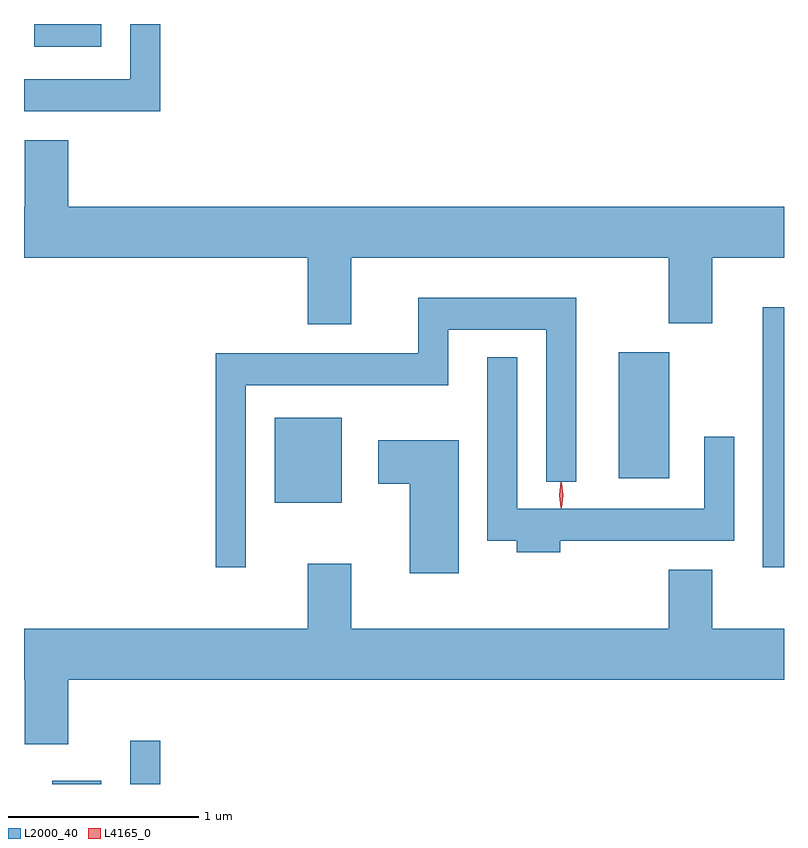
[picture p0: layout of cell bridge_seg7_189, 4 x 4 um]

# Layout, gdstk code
import gdstk
lib = gdstk.Library(unit=1e-6, precision=1e-09)
def R(c, l, rs):  # rectangles x0, y0, x1, y1
    for r in rs: c.add(gdstk.rectangle(r[:2], r[2:], *l))
def P(c, l, *ps):  # polygons
    for p in ps: c.add(gdstk.Polygon(p, *l))
L2000_40 = (2000, 40)
L4165_0 = (4165, 0)

bridge_seg7_189 = lib.new_cell('bridge_seg7_189')
R(bridge_seg7_189, L2000_40, [(1502.836,1702.666,1503.094,1702.684), (1503.246,1702.666,1503.404,1702.893), (1506.576,1703.808,1506.687,1705.174), (1504.006,1704.146,1504.359,1704.594), (1505.816,1704.276,1506.084,1704.939), (1502.741,1706.546,1503.094,1706.666)])
P(bridge_seg7_189, L2000_40, [(1503.404,1706.666),(1503.246,1706.666),(1503.246,1706.374),(1502.687,1706.374),(1502.687,1706.206),(1503.404,1706.206)],
  [(1504.181,1705.086),(1504.409,1705.086),(1504.409,1705.436),(1506.081,1705.436),(1506.081,1705.091),(1506.309,1705.091),(1506.309,1705.436),(1506.687,1705.436),(1506.687,1705.704),(1502.919,1705.704),(1502.919,1706.054),(1502.691,1706.054),(1502.691,1705.704),(1502.687,1705.704),(1502.687,1705.436),(1504.181,1705.436)],
  [(1503.854,1704.766),(1504.919,1704.766),(1504.919,1705.056),(1505.436,1705.056),(1505.436,1704.258),(1505.594,1704.258),(1505.594,1705.224),(1504.761,1705.224),(1504.761,1704.934),(1503.696,1704.934),(1503.696,1703.808),(1503.854,1703.808)],
  [(1505.509,1703.946),(1506.424,1703.946),(1506.424,1704.493),(1506.266,1704.493),(1506.266,1704.114),(1505.284,1704.114),(1505.284,1704.913),(1505.126,1704.913),(1505.126,1703.946),(1505.281,1703.946),(1505.281,1703.886),(1505.509,1703.886)],
  [(1504.974,1704.474),(1504.551,1704.474),(1504.551,1704.246),(1504.716,1704.246),(1504.716,1703.776),(1504.974,1703.776)],
  [(1502.919,1703.216),(1506.687,1703.216),(1506.687,1703.484),(1506.309,1703.484),(1506.309,1703.794),(1506.081,1703.794),(1506.081,1703.484),(1504.409,1703.484),(1504.409,1703.824),(1504.181,1703.824),(1504.181,1703.484),(1502.687,1703.484),(1502.687,1703.216),(1502.691,1703.216),(1502.691,1702.876),(1502.919,1702.876)])
P(bridge_seg7_189, L4165_0, [(1505.515,1704.119),(1505.515,1704.12),(1505.505,1704.186),(1505.515,1704.252),(1505.515,1704.253),(1505.516,1704.252),(1505.525,1704.186),(1505.516,1704.12)],
  [(1505.512,1704.117),(1505.503,1704.187),(1505.512,1704.256),(1505.513,1704.256),(1505.513,1704.256),(1505.523,1704.187),(1505.513,1704.117),(1505.513,1704.117)])

lib.write_gds('bridge_seg7_189.gds')
